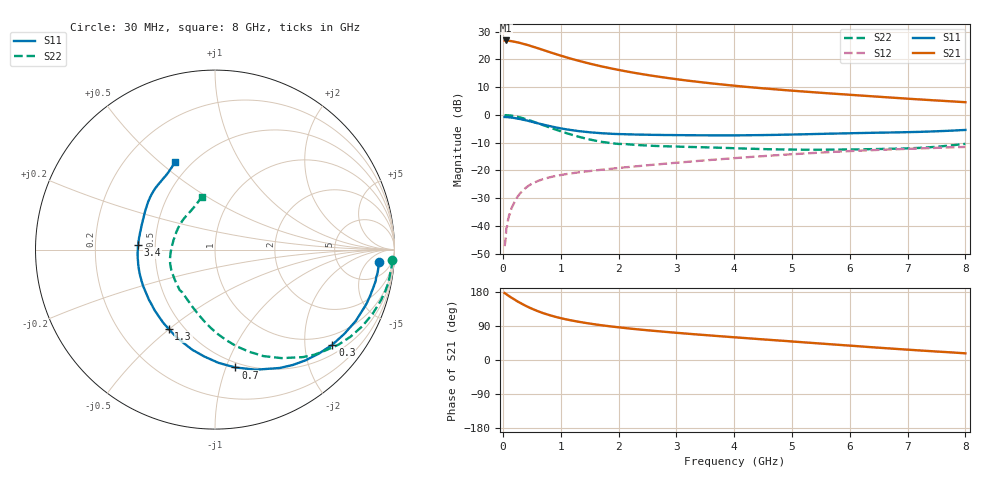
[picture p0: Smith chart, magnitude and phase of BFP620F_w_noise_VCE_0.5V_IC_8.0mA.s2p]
! Infineon Technologies  Discrete & RF Semiconductors
! BFP620F
! VCE =  0.5 V,  IC =  8.0 mA
! Common Emitter S-Parameters:  Dec 2014
# GHz  S  MA  R  50
!  f  S11  S21  S12  S22
! GHz  MAG  ANG  MAG  ANG  MAG  ANG  MAG  ANG
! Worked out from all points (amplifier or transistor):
!   95 points, 30 MHz to 8 GHz, reference 50 ohm
!   highest |S21| = 26.8 dB at 50 MHz (marker M1)
!   |S21| within 3 dB of that: start of sweep to 633.4 MHz
!   unconditionally stable (mu >= 1): 4.221 GHz to end of sweep
!   at 300 MHz: K = 0.14, MSG = 27.1 dB, |S12| = -28.2 dB
!   at 3.3 GHz: K = 0.94, MSG = 14.4 dB, |S12| = -16.7 dB
!   at 8 GHz: K = 1.11, MAG = 6.1 dB, |S12| = -11.6 dB
!   lowest NFmin = 0.56 dB at 450 MHz
!   S11 on the Smith chart (normalised r, x): 30 MHz: 13, -11; 300 MHz: 0.73, -2.65; 700 MHz: 0.46, -1.08; 1.3 GHz: 0.42, -0.50; 3.4 GHz: 0.40, +0.02; 8 GHz: 0.41, +0.56
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0.03  0.9172 -4.2  21.84 176.7  0.0043 84.5  0.9901 -3.3
0.05  0.9154 -6.9  21.98 174.6  0.0062 96.4  0.9884 -5.6
0.08  0.9122 -11.0  21.92 171.4  0.0106 86.1  0.9849 -9.0
0.15  0.8945 -20.4  21.34 164.4  0.0209 79.0  0.9673 -16.9
0.25  0.8599 -33.1  20.36 154.9  0.0331 72.6  0.9243 -27.6
0.3  0.8418 -39.0  19.79 150.7  0.0387 69.6  0.8972 -32.8
0.4  0.7967 -50.8  18.55 142.6  0.0488 64.3  0.8348 -42.2
0.45  0.7753 -56.0  17.9 138.9  0.0533 62.1  0.8067 -46.5
0.6  0.7069 -71.2  15.97 129.1  0.064 55.9  0.7091 -58.5
0.7  0.6665 -80.2  14.77 123.5  0.0699 52.7  0.6515 -65.6
0.9  0.5991 -95.6  12.62 114.3  0.0788 48.2  0.5497 -77.7
1  0.5725 -102.7  11.72 110.5  0.0824 46.6  0.5069 -83.1
1.1  0.548 -108.9  10.89 107.0  0.0858 45.3  0.4687 -88.4
1.3  0.5116 -120.3  9.513 101.2  0.0917 43.5  0.4067 -98.0
1.4  0.4992 -125.4  8.943 98.6  0.0946 42.8  0.3825 -102.4
1.9  0.4556 -146.5  6.792 88.0  0.1076 41.1  0.3068 -123.8
2.7  0.4357 -169.1  4.873 75.8  0.1288 39.2  0.2741 -148.2
3.4  0.4289 176.6  3.917 66.9  0.1486 37.4  0.2623 -162.3
4.1  0.4284 164.7  3.284 58.9  0.1689 34.9  0.2489 -174.7
5.4  0.4523 147.0  2.549 44.5  0.2064 28.4  0.2359 160.1
6.7  0.4816 130.6  2.057 30.4  0.2382 20.1  0.2449 133.8
8  0.5359 114.8  1.694 17.6  0.2645 11.9  0.3011 104.4
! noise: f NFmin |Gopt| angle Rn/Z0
0.45  0.56  0.34  9  0.24
0.9  0.63  0.3  19  0.21
1.5  0.69  0.28  22  0.17
1.8  0.72  0.26  25  0.16
1.9  0.73  0.21  39  0.18
2.4  0.78  0.19  54  0.16
3.5  0.89  0.18  74  0.13
5.5  1.07  0.13  168  0.11
6  1.11  0.1  192  0.19
